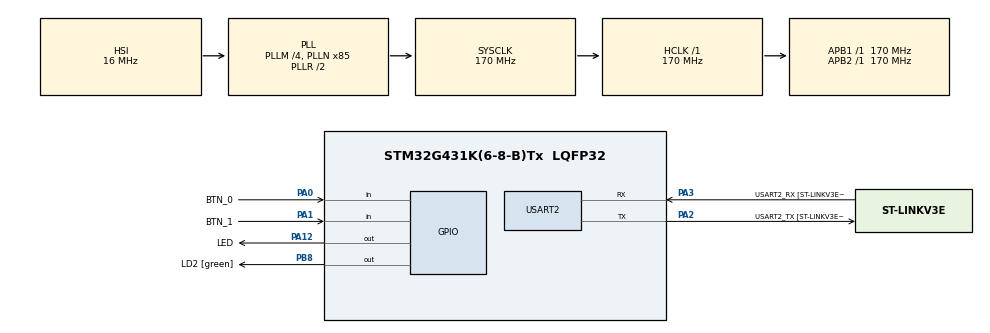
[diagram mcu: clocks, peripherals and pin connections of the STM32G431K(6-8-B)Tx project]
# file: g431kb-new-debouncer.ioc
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Mcu.Family=STM32G4
Mcu.Name=STM32G431K(6-8-B)Tx
Mcu.Package=LQFP32
NVIC.PriorityGroup=NVIC_PRIORITYGROUP_4
NVIC.TIM6_DAC_IRQn=true\:0\:0\:false\:false\:true\:true\:true\:true
PA0.GPIO_Label=BTN_0
PA0.GPIO_PuPd=GPIO_PULLUP
PA0.Signal=GPIO_Input
PA1.GPIO_Label=BTN_1
PA1.GPIO_PuPd=GPIO_PULLDOWN
PA1.Signal=GPIO_Input
PA12.GPIO_Label=LED
PA12.Signal=GPIO_Output
PA13.GPIO_Label=T_SWDIO
PA13.Mode=Trace_Asynchronous_SW
PA13.Signal=SYS_JTMS-SWDIO
PA14.GPIO_Label=T_SWCLK
PA14.Mode=Trace_Asynchronous_SW
PA14.Signal=SYS_JTCK-SWCLK
PA2.GPIO_Label=USART2_TX [ST-LINKV3E_VCP_RX]
PA2.Mode=Asynchronous
PA2.Signal=USART2_TX
PA3.GPIO_Label=USART2_RX [ST-LINKV3E_VCP_TX]
PA3.Mode=Asynchronous
PA3.Signal=USART2_RX
PB3.GPIO_Label=T_SWO
PB3.Mode=Trace_Asynchronous_SW
PB3.Signal=SYS_JTDO-SWO
PB8-BOOT0.GPIO_Label=LD2 [green]
PB8-BOOT0.Signal=GPIO_Output
ProjectManager.HeapSize=0x200
ProjectManager.StackSize=0x400
ProjectManager.TargetToolchain=STM32CubeIDE
RCC.ADC12Freq_Value=170000000
RCC.AHBFreq_Value=170000000
RCC.APB1Freq_Value=170000000
RCC.APB1TimFreq_Value=170000000
RCC.APB2Freq_Value=170000000
RCC.APB2TimFreq_Value=170000000
RCC.CortexFreq_Value=170000000
RCC.EXTERNAL_CLOCK_VALUE=12288000
RCC.HCLKFreq_Value=170000000
RCC.HSE_VALUE=8000000
RCC.HSI48_VALUE=48000000
RCC.HSI_VALUE=16000000
RCC.LSE_VALUE=32768
RCC.PLLM=RCC_PLLM_DIV4
RCC.PLLN=85
RCC.SYSCLKFreq_VALUE=170000000
RCC.SYSCLKSource=RCC_SYSCLKSOURCE_PLLCLK
RCC.USBFreq_Value=170000000
RCC.VCOOutputFreq_Value=340000000
TIM6.PeriodNoDither=169
TIM6.Prescaler=9999
USART2.VirtualMode-Asynchronous=VM_ASYNC
USART2.WordLength=WORDLENGTH_8B
VP_SYS_VS_DBSignals.Mode=DisableDeadBatterySignals
VP_TIM6_VS_ClockSourceINT.Mode=Enable_Timer
board=NUCLEO-G431KB

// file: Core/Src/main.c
/* USER CODE BEGIN Header */
/**
  ******************************************************************************
  * @file           : main.c
  * @brief          : Main program body
  ******************************************************************************
  * @attention
  *
  * Copyright (c) 2024 STMicroelectronics.
  * All rights reserved.
  *
  * This software is licensed under terms that can be found in the LICENSE file
  * in the root directory of this software component.
  * If no LICENSE file comes with this software, it is provided AS-IS.
  *
  ******************************************************************************
  */
/* USER CODE END Header */
#include "main.h"

/* USER CODE BEGIN Includes */
#include "debouncer.h"
/* USER CODE END Includes */

TIM_HandleTypeDef htim6;

UART_HandleTypeDef huart2;

/* USER CODE BEGIN PV */
debouncer_button_t Btn0;
debouncer_button_t Btn1;
/* USER CODE END PV */

void SystemClock_Config(void);
static void MX_GPIO_Init(void);
static void MX_USART2_UART_Init(void);
static void MX_TIM6_Init(void);

/* USER CODE BEGIN 0 */
/** Read Gpio Functions **/
uint8_t read_btn0(){
	if (HAL_GPIO_ReadPin(BTN_0_GPIO_Port, BTN_0_Pin) == GPIO_PIN_SET){
		return 1;
	}
	else{
		return 0;
	}
}

uint8_t read_btn1(){
	if (HAL_GPIO_ReadPin(BTN_1_GPIO_Port, BTN_1_Pin) == GPIO_PIN_SET){
		return 1;
	}
	else{
		return 0;
	}
}

/** Timer Callback for debouncer process **/
void HAL_TIM_PeriodElapsedCallback(TIM_HandleTypeDef *htim){
	debouncer_process();
}

/** Debouncer Callback **/
void debouncer_callback(size_t sButtonId){
	if (sButtonId == BTN_0_Pin){
		HAL_GPIO_TogglePin(LED_GPIO_Port, LED_Pin);
	}
	else if (sButtonId == BTN_1_Pin){
		HAL_GPIO_TogglePin(LED_GPIO_Port, LED_Pin);
	}
}
/* USER CODE END 0 */

int main(void)
{

  /* MCU Configuration--------------------------------------------------------*/

  /* Reset of all peripherals, Initializes the Flash interface and the Systick. */
  HAL_Init();

  /* Configure the system clock */
  SystemClock_Config();

  /* Initialize all configured peripherals */
  MX_GPIO_Init();
  MX_USART2_UART_Init();
  MX_TIM6_Init();
  /* USER CODE BEGIN 2 */
  Btn0.FxnReadButton = read_btn0;
  Btn0.bActiveState = false;
  Btn0.sButtonID = BTN_0_Pin;
  Btn0.u8DebouncerFactor = 10;

  Btn1.FxnReadButton = read_btn1;
  Btn1.bActiveState = true;
  Btn1.sButtonID = BTN_1_Pin;
  Btn1.u8DebouncerFactor = 5;

  debouncer_add_button(&Btn0);
  debouncer_add_button(&Btn1);

  HAL_TIM_Base_Start_IT(&htim6);
  /* USER CODE END 2 */

  /* Infinite loop */
  while (1)
  {

  }
}

void SystemClock_Config(void)
{
  RCC_OscInitTypeDef RCC_OscInitStruct = {0};
  RCC_ClkInitTypeDef RCC_ClkInitStruct = {0};

  /** Configure the main internal regulator output voltage
  */
  HAL_PWREx_ControlVoltageScaling(PWR_REGULATOR_VOLTAGE_SCALE1_BOOST);

  /** Initializes the RCC Oscillators according to the specified parameters
  * in the RCC_OscInitTypeDef structure.
  */
  RCC_OscInitStruct.OscillatorType = RCC_OSCILLATORTYPE_HSI;
  RCC_OscInitStruct.HSIState = RCC_HSI_ON;
  RCC_OscInitStruct.HSICalibrationValue = RCC_HSICALIBRATION_DEFAULT;
  RCC_OscInitStruct.PLL.PLLState = RCC_PLL_ON;
  RCC_OscInitStruct.PLL.PLLSource = RCC_PLLSOURCE_HSI;
  RCC_OscInitStruct.PLL.PLLM = RCC_PLLM_DIV4;
  RCC_OscInitStruct.PLL.PLLN = 85;
  RCC_OscInitStruct.PLL.PLLP = RCC_PLLP_DIV2;
  RCC_OscInitStruct.PLL.PLLQ = RCC_PLLQ_DIV2;
  RCC_OscInitStruct.PLL.PLLR = RCC_PLLR_DIV2;
  if (HAL_RCC_OscConfig(&RCC_OscInitStruct) != HAL_OK)
  {
    Error_Handler();
  }

  /** Initializes the CPU, AHB and APB buses clocks
  */
  RCC_ClkInitStruct.ClockType = RCC_CLOCKTYPE_HCLK|RCC_CLOCKTYPE_SYSCLK
                              |RCC_CLOCKTYPE_PCLK1|RCC_CLOCKTYPE_PCLK2;
  RCC_ClkInitStruct.SYSCLKSource = RCC_SYSCLKSOURCE_PLLCLK;
  RCC_ClkInitStruct.AHBCLKDivider = RCC_SYSCLK_DIV1;
  RCC_ClkInitStruct.APB1CLKDivider = RCC_HCLK_DIV1;
  RCC_ClkInitStruct.APB2CLKDivider = RCC_HCLK_DIV1;

  if (HAL_RCC_ClockConfig(&RCC_ClkInitStruct, FLASH_LATENCY_4) != HAL_OK)
  {
    Error_Handler();
  }
}

static void MX_TIM6_Init(void)
{

  TIM_MasterConfigTypeDef sMasterConfig = {0};

  htim6.Instance = TIM6;
  htim6.Init.Prescaler = 9999;
  htim6.Init.CounterMode = TIM_COUNTERMODE_UP;
  htim6.Init.Period = 169;
  htim6.Init.AutoReloadPreload = TIM_AUTORELOAD_PRELOAD_DISABLE;
  if (HAL_TIM_Base_Init(&htim6) != HAL_OK)
  {
    Error_Handler();
  }
  sMasterConfig.MasterOutputTrigger = TIM_TRGO_RESET;
  sMasterConfig.MasterSlaveMode = TIM_MASTERSLAVEMODE_DISABLE;
  if (HAL_TIMEx_MasterConfigSynchronization(&htim6, &sMasterConfig) != HAL_OK)
  {
    Error_Handler();
  }

}

static void MX_USART2_UART_Init(void)
{

  huart2.Instance = USART2;
  huart2.Init.BaudRate = 115200;
  huart2.Init.WordLength = UART_WORDLENGTH_8B;
  huart2.Init.StopBits = UART_STOPBITS_1;
  huart2.Init.Parity = UART_PARITY_NONE;
  huart2.Init.Mode = UART_MODE_TX_RX;
  huart2.Init.HwFlowCtl = UART_HWCONTROL_NONE;
  huart2.Init.OverSampling = UART_OVERSAMPLING_16;
  huart2.Init.OneBitSampling = UART_ONE_BIT_SAMPLE_DISABLE;
  huart2.Init.ClockPrescaler = UART_PRESCALER_DIV1;
  huart2.AdvancedInit.AdvFeatureInit = UART_ADVFEATURE_NO_INIT;
  if (HAL_UART_Init(&huart2) != HAL_OK)
  {
    Error_Handler();
  }
  if (HAL_UARTEx_SetTxFifoThreshold(&huart2, UART_TXFIFO_THRESHOLD_1_8) != HAL_OK)
  {
    Error_Handler();
  }
  if (HAL_UARTEx_SetRxFifoThreshold(&huart2, UART_RXFIFO_THRESHOLD_1_8) != HAL_OK)
  {
    Error_Handler();
  }
  if (HAL_UARTEx_DisableFifoMode(&huart2) != HAL_OK)
  {
    Error_Handler();
  }

}

static void MX_GPIO_Init(void)
{
  GPIO_InitTypeDef GPIO_InitStruct = {0};

  /* GPIO Ports Clock Enable */
  __HAL_RCC_GPIOA_CLK_ENABLE();
  __HAL_RCC_GPIOB_CLK_ENABLE();

  /*Configure GPIO pin Output Level */
  HAL_GPIO_WritePin(LED_GPIO_Port, LED_Pin, GPIO_PIN_RESET);

  /*Configure GPIO pin Output Level */
  HAL_GPIO_WritePin(LD2_GPIO_Port, LD2_Pin, GPIO_PIN_RESET);

  /*Configure GPIO pin : BTN_0_Pin */
  GPIO_InitStruct.Pin = BTN_0_Pin;
  GPIO_InitStruct.Mode = GPIO_MODE_INPUT;
  GPIO_InitStruct.Pull = GPIO_PULLUP;
  HAL_GPIO_Init(BTN_0_GPIO_Port, &GPIO_InitStruct);

  /*Configure GPIO pin : BTN_1_Pin */
  GPIO_InitStruct.Pin = BTN_1_Pin;
  GPIO_InitStruct.Mode = GPIO_MODE_INPUT;
  GPIO_InitStruct.Pull = GPIO_PULLDOWN;
  HAL_GPIO_Init(BTN_1_GPIO_Port, &GPIO_InitStruct);

  /*Configure GPIO pin : LED_Pin */
  GPIO_InitStruct.Pin = LED_Pin;
  GPIO_InitStruct.Mode = GPIO_MODE_OUTPUT_PP;
  GPIO_InitStruct.Pull = GPIO_NOPULL;
  GPIO_InitStruct.Speed = GPIO_SPEED_FREQ_LOW;
  HAL_GPIO_Init(LED_GPIO_Port, &GPIO_InitStruct);

  /*Configure GPIO pin : LD2_Pin */
  GPIO_InitStruct.Pin = LD2_Pin;
  GPIO_InitStruct.Mode = GPIO_MODE_OUTPUT_PP;
  GPIO_InitStruct.Pull = GPIO_NOPULL;
  GPIO_InitStruct.Speed = GPIO_SPEED_FREQ_LOW;
  HAL_GPIO_Init(LD2_GPIO_Port, &GPIO_InitStruct);

}

void Error_Handler(void)
{
  __disable_irq();
  while (1)
  {
  }
}
